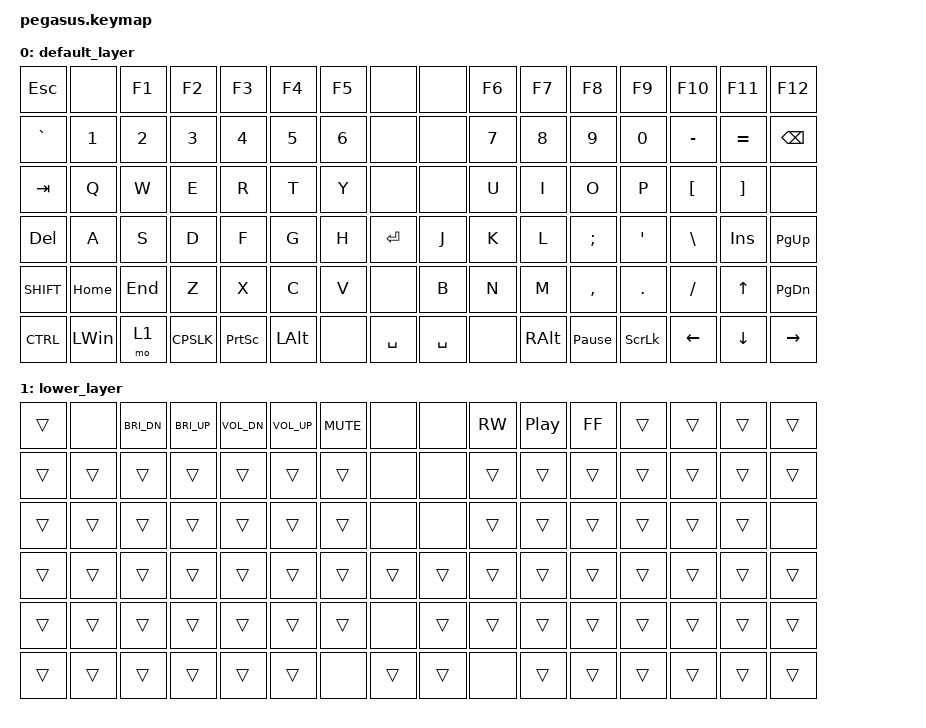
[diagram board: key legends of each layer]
#include <behaviors.dtsi>
#include <dt-bindings/zmk/keys.h>
#include <dt-bindings/zmk/bt.h>

/ {
        keymap {
                compatible = "zmk,keymap";

                default_layer {
// -----------------------------------------------------------------------------------------
// | ESC   |  NONE  |   F1  |     F2    |    F3   |   F4   |  F5  | NONE |      |  NONE  |  F6  |   F7   |       F8        |   F9   |  F10    |  F11    |  F12    |
// | GRAVE |   N1   |   N2  |     N3    |    N4   |   N5   |  N6  | NONE |      |  NONE  |  N7  |   N8   |       N9        |   N0   |  MINUS  |  EQUAL  |  BSPC   |
// | TAB   |   Q    |   W   |     E     |    R    |   T    |  Y   | NONE |      |  NONE  |  U   |   I    |       O         |   P    |  LBKT   |  RBKT   |  NONE   |
// | DEL   |   A    |   S   |     D     |    F    |   G    |  H   | RET  |      |   J    |  K   |   L    |      SEMI       |  APOS  |  BSLH   |  INS    |  PG_UP  |
// | SHIFT |  HOME  |  END  |     Z     |    X    |   C    |  V   | NONE |      |   B    |  N   |   M    |      COMMA      |  DOT   |  FSLH   |  UP     |  PG_DN  |
// | CTRL  |  LWIN  |  FN   |   CPSLK   |  PSCRN  |  LALT  | NONE | SPC  |      |  SPC   | NONE |  RALT  |   PAUSE_BREAK   |  SLCK  |  LEFT   |  DOWN   |  RIGHT  |
                        bindings = <
   &kp ESC   &none    &kp F1  &kp F2    &kp F3    &kp F4   &kp F5  &none         &none    &kp F6  &kp F7    &kp F8          &kp F9   &kp F10   &kp F11   &kp F12
   &kp GRAVE &kp N1   &kp N2  &kp N3    &kp N4    &kp N5   &kp N6  &none         &none    &kp N7  &kp N8    &kp N9          &kp N0   &kp MINUS &kp EQUAL &kp BSPC
   &kp TAB   &kp Q    &kp W   &kp E     &kp R     &kp T    &kp Y   &none         &none    &kp U   &kp I     &kp O           &kp P    &kp LBKT  &kp RBKT  &none 
   &kp DEL   &kp A    &kp S   &kp D     &kp F     &kp G    &kp H   &kp RET       &kp J    &kp K   &kp L     &kp SEMI        &kp APOS &kp BSLH  &kp INS   &kp PG_UP
   &kp SHIFT &kp HOME &kp END &kp Z     &kp X     &kp C    &kp V   &none         &kp B    &kp N   &kp M     &kp COMMA       &kp DOT  &kp FSLH  &kp UP    &kp PG_DN
   &kp CTRL  &kp LWIN &mo 1   &kp CPSLK &kp PSCRN &kp LALT &none   &kp SPC       &kp SPC  &none   &kp RALT  &kp PAUSE_BREAK &kp SLCK &kp LEFT  &kp DOWN  &kp RIGHT
                        >;
                };
                lower_layer {
// -----------------------------------------------------------------------------------------
// | TRNS  |  NONE  |   C_BRI_DN   |  C_BRI_UP |  C_VOL_DN  |  C_VOL_UP  |  C_MUTE   | NONE |     |  NONE   | C_RW |  C_PP  |      C_FF      |  TRNS  |  TRNS   |  F11    |  F12   |
// | TRNS  |  TRNS  |     TRNS     |    TRNS   |    TRNS    |    TRNS    |   TRNS    | NONE |     |  NONE   | TRNS |  TRNS  |      TRNS      |  TRNS  |  TRNS   |  TRNS   |  TRNS  |
// | TRNS  |  TRNS  |     TRNS     |    TRNS   |    TRNS    |    TRNS    |   TRNS    | NONE |     |  NONE   | TRNS |  TRNS  |      TRNS      |  TRNS  |  TRNS   |  TRNS   |  NONE  |
// | TRNS  |  TRNS  |     TRNS     |    TRNS   |    TRNS    |    TRNS    |   TRNS    | TRNS |     |  TRNS   | TRNS |  TRNS  |      TRNS      |  TRNS  |  TRNS   |  TRNS   |  TRNS  |
// | TRNS  |  TRNS  |     TRNS     |    TRNS   |    TRNS    |    TRNS    |   TRNS    | NONE |     |  TRNS   | TRNS |  TRNS  |      TRNS      |  TRNS  |  TRNS   |  TRNS   |  TRNS  |
// | TRNS  |  TRNS  |     TRNS     |    TRNS   |    TRNS    |    TRNS    |   NONE    | TRNS |     |  TRNS   | NONE |  TRNS  |      TRNS      |  TRNS  |  TRNS   |  TRNS   |  TRNS  |
                        bindings = <
   &trans    &none    &kp C_BRI_DN &kp C_BRI_UP &kp C_VOL_DN &kp C_VOL_UP &kp C_MUTE   &none       &none    &kp C_RW &kp C_PP  &kp C_FF       &trans    &trans    &trans    &trans
   &trans    &trans   &trans       &trans       &trans       &trans       &trans       &none       &none    &trans   &trans    &trans         &trans    &trans    &trans    &trans
   &trans    &trans   &trans       &trans       &trans       &trans       &trans       &none       &none    &trans   &trans    &trans         &trans    &trans    &trans    &none 
   &trans    &trans   &trans       &trans       &trans       &trans       &trans       &trans      &trans   &trans   &trans    &trans         &trans    &trans    &trans    &trans
   &trans    &trans   &trans       &trans       &trans       &trans       &trans       &none       &trans   &trans   &trans    &trans         &trans    &trans    &trans    &trans
   &trans    &trans   &trans       &trans       &trans       &trans       &none        &trans      &trans   &none    &trans    &trans         &trans    &trans    &trans    &trans
                        >;
                };
        };
};
